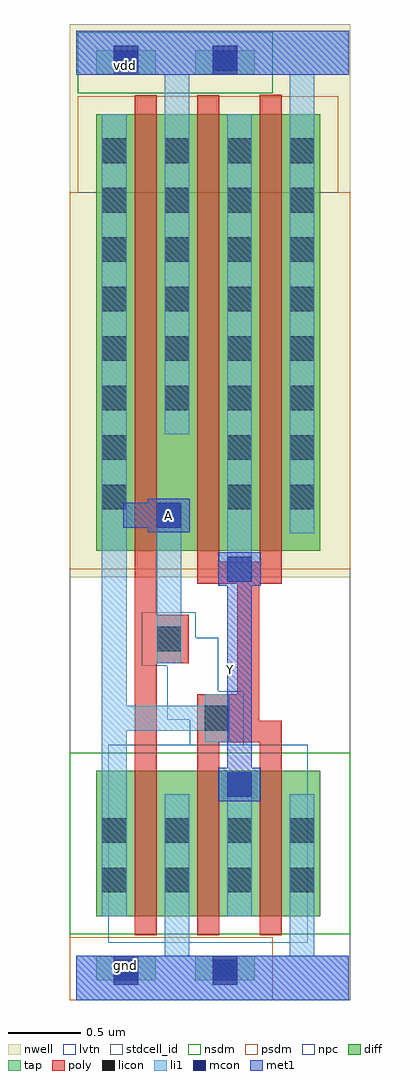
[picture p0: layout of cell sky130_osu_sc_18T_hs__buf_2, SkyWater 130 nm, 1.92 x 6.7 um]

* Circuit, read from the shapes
.subckt sky130_osu_sc_18T_hs__buf_2 A Y gnd vdd
XM1 gnd A n1 gnd sky130_fd_pr__nfet_01v8_lvt w=1 l=0.15
XM2 Y n1 gnd gnd sky130_fd_pr__nfet_01v8_lvt w=1 l=0.15 m=2
XM3 vdd A n1 vdd sky130_fd_pr__pfet_01v8 w=3 l=0.15
XM4 Y n1 vdd vdd sky130_fd_pr__pfet_01v8 w=3 l=0.15 m=2
.ends

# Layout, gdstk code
import gdstk
lib = gdstk.Library(unit=1e-6, precision=1e-09)
def R(c, l, rs):  # rectangles x0, y0, x1, y1
    for r in rs: c.add(gdstk.rectangle(r[:2], r[2:], *l))
def A(c, l, x, y, w, h, nx, ny, dx, dy):  # array of equal rectangles
    R(c, l, [(x+i*dx, y+j*dy, x+i*dx+w, y+j*dy+h) for i in range(nx) for j in range(ny)])
nwell = (64, 20)
diff = (65, 20)
tap = (65, 44)
poly = (66, 20)
licon = (66, 44)
li1 = (67, 20)
mcon = (67, 44)
met1 = (68, 20)
stdcell_id = (81, 4)
nsdm = (93, 44)
psdm = (94, 20)
npc = (95, 20)
lvtn = (125, 44)

sky130_osu_sc_18t_hs__bu = lib.new_cell('sky130_osu_sc_18T_hs__buf_2')
R(sky130_osu_sc_18t_hs__bu, nwell, [(-0.045,2.905,1.88,6.705)])
R(sky130_osu_sc_18t_hs__bu, diff, [(0.135,0.575,1.675,1.575), (0.135,3.085,1.675,6.085)])
R(sky130_osu_sc_18t_hs__bu, tap, [(0.135,0.135,0.545,0.305), (0.815,0.135,1.225,0.305), (0.135,6.355,0.545,6.525), (0.815,6.355,1.225,6.525)])
R(sky130_osu_sc_18t_hs__bu, poly, [(0.4,0.445,0.55,2.315), (0.83,0.445,0.98,1.77), (1.26,0.445,1.41,1.77), (0.83,1.77,1.41,1.92), (0.83,1.92,1.255,2.1), (1.105,2.1,1.255,2.86), (0.4,2.315,0.77,2.645), (0.4,2.645,0.55,6.215), (0.83,2.86,1.41,3.01), (0.83,3.01,0.98,6.215), (1.26,3.01,1.41,6.22)])
A(sky130_osu_sc_18t_hs__bu, licon, 0.175, 0.74, 0.17, 0.17, 4, 2, 0.43, 0.34)
A(sky130_osu_sc_18t_hs__bu, licon, 0.175, 4.05, 0.17, 0.17, 4, 6, 0.43, 0.34)
R(sky130_osu_sc_18t_hs__bu, licon, [(0.255,0.135,0.425,0.305), (0.935,0.135,1.105,0.305), (0.88,1.85,1.05,2.02), (0.55,2.395,0.72,2.565), (0.175,3.37,0.345,3.54), (1.035,3.37,1.205,3.54), (1.465,3.37,1.635,3.54), (0.175,3.71,0.345,3.88), (1.035,3.71,1.205,3.88), (1.465,3.71,1.635,3.88), (0.255,6.355,0.425,6.525), (0.935,6.355,1.105,6.525)])
R(sky130_osu_sc_18t_hs__bu, li1, [(0,0,1.87,0.305), (0.605,0.305,0.775,1.415), (1.465,0.305,1.635,1.415), (0.175,0.575,0.345,1.85), (1.035,0.575,1.205,1.565), (0.88,1.77,1.05,1.85), (0.175,1.85,1.05,2.02), (0.175,2.02,0.345,6.085), (0.88,2.02,1.05,2.1), (0.55,2.315,0.72,3.415), (1.035,2.875,1.205,6.085), (1.465,3.205,1.635,6.355), (0.605,3.885,0.775,6.355), (0,6.355,1.87,6.66)])
R(sky130_osu_sc_18t_hs__bu, mcon, [(0.255,0.105,0.425,0.275), (0.935,0.105,1.105,0.275), (1.035,1.395,1.205,1.565), (1.035,2.875,1.205,3.045), (0.55,3.245,0.72,3.415), (0.255,6.385,0.425,6.555), (0.935,6.385,1.105,6.555)])
R(sky130_osu_sc_18t_hs__bu, met1, [(0,0,1.87,0.305), (0.975,1.365,1.265,1.595), (1.035,1.595,1.205,2.845), (0.975,2.845,1.265,3.075), (0.49,3.215,0.78,3.245), (0.32,3.245,0.78,3.415), (0.49,3.415,0.78,3.445), (0,6.355,1.87,6.66)])
R(sky130_osu_sc_18t_hs__bu, stdcell_id, [(-0.045,0,1.88,5.55)])
R(sky130_osu_sc_18t_hs__bu, nsdm, [(-0.045,0.45,1.88,1.7), (0.01,6.23,1.35,6.65)])
R(sky130_osu_sc_18t_hs__bu, psdm, [(-0.045,0,1.35,0.43), (-0.045,2.96,1.88,5.55), (0.01,5.55,1.8,6.21)])
R(sky130_osu_sc_18t_hs__bu, npc, [(0.78,1.75,1.15,1.925), (0.625,1.925,1.15,2.12), (0.625,2.12,0.975,2.295), (0.45,2.295,0.975,2.49), (0.45,2.49,0.82,2.665)])
R(sky130_osu_sc_18t_hs__bu, lvtn, [(0.22,0.395,1.59,1.755)])
sky130_osu_sc_18t_hs__bu.add(gdstk.Label('gnd', (0.34,0.24), layer=68, texttype=16))
sky130_osu_sc_18t_hs__bu.add(gdstk.Label('vdd', (0.34,6.42), layer=68, texttype=16))
sky130_osu_sc_18t_hs__bu.add(gdstk.Label('A', (0.635,3.33), layer=68, texttype=5))
sky130_osu_sc_18t_hs__bu.add(gdstk.Label('Y', (1.055,2.27), layer=68, texttype=5))

lib.write_gds('sky130_osu_sc_18T_hs__buf_2.gds')
